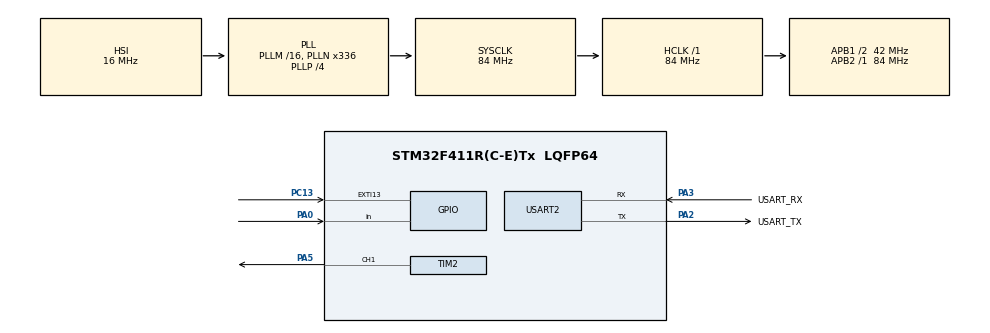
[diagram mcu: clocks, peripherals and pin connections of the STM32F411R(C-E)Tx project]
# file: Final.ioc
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Mcu.Family=STM32F4
Mcu.Name=STM32F411R(C-E)Tx
Mcu.Package=LQFP64
NVIC.PriorityGroup=NVIC_PRIORITYGROUP_0
NVIC.TIM2_IRQn=true\:0\:0\:false\:false\:true\:true\:true\:true
NVIC.TIM3_IRQn=true\:0\:0\:false\:false\:true\:true\:true\:true
PA0-WKUP.Signal=GPIO_Input
PA13.GPIO_Label=TMS
PA13.Mode=Serial_Wire
PA13.Signal=SYS_JTMS-SWDIO
PA14.GPIO_Label=TCK
PA14.Mode=Serial_Wire
PA14.Signal=SYS_JTCK-SWCLK
PA2.GPIO_Label=USART_TX
PA2.Mode=Asynchronous
PA2.Signal=USART2_TX
PA3.GPIO_Label=USART_RX
PA3.Mode=Asynchronous
PA3.Signal=USART2_RX
PA5.Signal=S_TIM2_CH1_ETR
PB3.GPIO_Label=SWO
PB3.Signal=SYS_JTDO-SWO
PC13-ANTI_TAMP.GPIO_PuPd=GPIO_PULLUP
PC13-ANTI_TAMP.Signal=GPXTI13
PC14-OSC32_IN.Mode=LSE-External-Oscillator
PC14-OSC32_IN.Signal=RCC_OSC32_IN
PC15-OSC32_OUT.Mode=LSE-External-Oscillator
PC15-OSC32_OUT.Signal=RCC_OSC32_OUT
PH0\ -\ OSC_IN.Mode=HSE-External-Clock-Source
PH0\ -\ OSC_IN.Signal=RCC_OSC_IN
PH1\ -\ OSC_OUT.Mode=HSE-External-Clock-Source
PH1\ -\ OSC_OUT.Signal=RCC_OSC_OUT
ProjectManager.HeapSize=0x200
ProjectManager.StackSize=0x400
ProjectManager.TargetToolchain=STM32CubeIDE
RCC.48MHZClocksFreq_Value=84000000
RCC.AHBFreq_Value=84000000
RCC.APB1CLKDivider=RCC_HCLK_DIV2
RCC.APB1Freq_Value=42000000
RCC.APB1TimFreq_Value=84000000
RCC.APB2Freq_Value=84000000
RCC.APB2TimFreq_Value=84000000
RCC.CortexFreq_Value=84000000
RCC.FLatency-AdvancedSettings=FLASH_LATENCY_2
RCC.HCLKFreq_Value=84000000
RCC.HSE_VALUE=8000000
RCC.HSI_VALUE=16000000
RCC.PLLN=336
RCC.PLLP=RCC_PLLP_DIV4
RCC.SYSCLKFreq_VALUE=84000000
RCC.SYSCLKSource=RCC_SYSCLKSOURCE_PLLCLK
RCC.VCOOutputFreq_Value=336000000
SH.S_TIM2_CH1_ETR.0=TIM2_CH1,PWM Generation1 CH1
TIM2.Channel-PWM\ Generation1\ CH1=TIM_CHANNEL_1
TIM2.Period=999
TIM2.Prescaler=83
TIM3.Period=999
TIM3.Prescaler=83
USART2.VirtualMode=VM_ASYNC
VP_TIM2_VS_ClockSourceINT.Mode=Internal
VP_TIM3_VS_ClockSourceINT.Mode=Internal
board=NUCLEO-F411RE

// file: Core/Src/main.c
/* =========================
 * main.c  (CubeMX + thin glue)
 * ========================= */

/* USER CODE BEGIN Header */
/**
  ******************************************************************************
  * @file           : main.c
  * @brief          : Basic final assignment – PI + plant + PWM + UART + modes
  *
  * - TIM3 @ 1 kHz interrupt runs: app_tick_1khz()
  * - TIM2 CH1 outputs PWM duty (0..1)
  * - UART2 CLI: help, status, mode idle|mod|cfg, kp x, ki x, ref x
  * - PC13 button cycles modes (unless locked in CONFIG)
  ******************************************************************************
  */
/* USER CODE END Header */

#include "main.h"

/* USER CODE BEGIN Includes */
#include <string.h>
#include <stdint.h>
#include "app.h"
/* USER CODE END Includes */

TIM_HandleTypeDef htim2;
TIM_HandleTypeDef htim3;
UART_HandleTypeDef huart2;

/* USER CODE BEGIN PV */
static volatile uint8_t g_btn_event = 0;

/* UART line buffer */
static char     g_line[96];
static uint32_t g_line_len = 0;
/* USER CODE END PV */

void SystemClock_Config(void);
static void MX_GPIO_Init(void);
static void MX_USART2_UART_Init(void);
static void MX_TIM2_Init(void);
static void MX_TIM3_Init(void);

/* USER CODE BEGIN PFP */
static void uart_putc(uint8_t c);
static void uart_print(const char *s);
static void uart_println(const char *s);
/* USER CODE END PFP */

/* USER CODE BEGIN 0 */

static void uart_putc(uint8_t c)
{
  HAL_UART_Transmit(&huart2, &c, 1, 100);
}

static void uart_print(const char *s)
{
  HAL_UART_Transmit(&huart2, (uint8_t*)s, (uint16_t)strlen(s), 200);
}

static void uart_println(const char *s)
{
  uart_print(s);
  uart_print("\r\n");
}

/* PC13 EXTI callback -> set flag */
void HAL_GPIO_EXTI_Callback(uint16_t GPIO_Pin)
{
  if (GPIO_Pin == GPIO_PIN_13) g_btn_event = 1;
}

/* TIM3 ISR: call app tick */
void HAL_TIM_PeriodElapsedCallback(TIM_HandleTypeDef *htim)
{
  if (htim->Instance != TIM3) return;
  app_tick_1khz();
}

/* USER CODE END 0 */

int main(void)
{
  HAL_Init();
  SystemClock_Config();

  MX_GPIO_Init();
  MX_USART2_UART_Init();
  MX_TIM2_Init();
  MX_TIM3_Init();

  /* USER CODE BEGIN 2 */
  app_init();

  HAL_TIM_PWM_Start(&htim2, TIM_CHANNEL_1);
  HAL_TIM_Base_Start_IT(&htim3);

  uart_println("");
  uart_println("BASIC start: PI + Plant + PWM + UART");
  uart_println("Commands: help, status, mode idle|mod|cfg, kp x, ki x, ref x");
  uart_println("Boot");
  /* USER CODE END 2 */

  while (1)
  {
    /* UART RX polling: CR ends a line, LF ignored */
    uint8_t ch;
    if (HAL_UART_Receive(&huart2, &ch, 1, 0) == HAL_OK)
    {
#if UART_ECHO
      uart_putc(ch);
#endif
      if (ch == '\n') {
        /* ignore */
      }
      else if (ch == '\r')
      {
        uart_print("\r\n");
        g_line[g_line_len] = '\0';
        app_cli_process_line(g_line);
        g_line_len = 0;
      }
      else if (g_line_len < sizeof(g_line) - 1)
      {
        g_line[g_line_len++] = (char)ch;
      }
    }

    /* Button: forward event to app */
    if (g_btn_event)
    {
      g_btn_event = 0;
      app_button_event();
    }
  }
}

/* ===================== CubeMX generated init functions below ===================== */

void SystemClock_Config(void)
{
  RCC_OscInitTypeDef RCC_OscInitStruct = {0};
  RCC_ClkInitTypeDef RCC_ClkInitStruct = {0};

  __HAL_RCC_PWR_CLK_ENABLE();
  __HAL_PWR_VOLTAGESCALING_CONFIG(PWR_REGULATOR_VOLTAGE_SCALE1);

  RCC_OscInitStruct.OscillatorType = RCC_OSCILLATORTYPE_HSI;
  RCC_OscInitStruct.HSIState = RCC_HSI_ON;
  RCC_OscInitStruct.HSICalibrationValue = RCC_HSICALIBRATION_DEFAULT;
  RCC_OscInitStruct.PLL.PLLState = RCC_PLL_ON;
  RCC_OscInitStruct.PLL.PLLSource = RCC_PLLSOURCE_HSI;
  RCC_OscInitStruct.PLL.PLLM = 16;
  RCC_OscInitStruct.PLL.PLLN = 336;
  RCC_OscInitStruct.PLL.PLLP = RCC_PLLP_DIV4;
  RCC_OscInitStruct.PLL.PLLQ = 4;
  if (HAL_RCC_OscConfig(&RCC_OscInitStruct) != HAL_OK) { Error_Handler(); }

  RCC_ClkInitStruct.ClockType = RCC_CLOCKTYPE_HCLK|RCC_CLOCKTYPE_SYSCLK
                              |RCC_CLOCKTYPE_PCLK1|RCC_CLOCKTYPE_PCLK2;
  RCC_ClkInitStruct.SYSCLKSource = RCC_SYSCLKSOURCE_PLLCLK;
  RCC_ClkInitStruct.AHBCLKDivider = RCC_SYSCLK_DIV1;
  RCC_ClkInitStruct.APB1CLKDivider = RCC_HCLK_DIV2;
  RCC_ClkInitStruct.APB2CLKDivider = RCC_HCLK_DIV1;

  if (HAL_RCC_ClockConfig(&RCC_ClkInitStruct, FLASH_LATENCY_2) != HAL_OK) { Error_Handler(); }
}

static void MX_TIM2_Init(void)
{
  TIM_ClockConfigTypeDef sClockSourceConfig = {0};
  TIM_MasterConfigTypeDef sMasterConfig = {0};
  TIM_OC_InitTypeDef sConfigOC = {0};

  htim2.Instance = TIM2;
  htim2.Init.Prescaler = 83;
  htim2.Init.CounterMode = TIM_COUNTERMODE_UP;
  htim2.Init.Period = 999;
  htim2.Init.ClockDivision = TIM_CLOCKDIVISION_DIV1;
  htim2.Init.AutoReloadPreload = TIM_AUTORELOAD_PRELOAD_DISABLE;
  if (HAL_TIM_Base_Init(&htim2) != HAL_OK) { Error_Handler(); }

  sClockSourceConfig.ClockSource = TIM_CLOCKSOURCE_INTERNAL;
  if (HAL_TIM_ConfigClockSource(&htim2, &sClockSourceConfig) != HAL_OK) { Error_Handler(); }

  if (HAL_TIM_PWM_Init(&htim2) != HAL_OK) { Error_Handler(); }

  sMasterConfig.MasterOutputTrigger = TIM_TRGO_RESET;
  sMasterConfig.MasterSlaveMode = TIM_MASTERSLAVEMODE_DISABLE;
  if (HAL_TIMEx_MasterConfigSynchronization(&htim2, &sMasterConfig) != HAL_OK) { Error_Handler(); }

  sConfigOC.OCMode = TIM_OCMODE_PWM1;
  sConfigOC.Pulse = 0;
  sConfigOC.OCPolarity = TIM_OCPOLARITY_HIGH;
  sConfigOC.OCFastMode = TIM_OCFAST_DISABLE;
  if (HAL_TIM_PWM_ConfigChannel(&htim2, &sConfigOC, TIM_CHANNEL_1) != HAL_OK) { Error_Handler(); }

  HAL_TIM_MspPostInit(&htim2);
}

static void MX_TIM3_Init(void)
{
  TIM_ClockConfigTypeDef sClockSourceConfig = {0};
  TIM_MasterConfigTypeDef sMasterConfig = {0};

  htim3.Instance = TIM3;
  htim3.Init.Prescaler = 83;
  htim3.Init.CounterMode = TIM_COUNTERMODE_UP;
  htim3.Init.Period = 999;
  htim3.Init.ClockDivision = TIM_CLOCKDIVISION_DIV1;
  htim3.Init.AutoReloadPreload = TIM_AUTORELOAD_PRELOAD_DISABLE;
  if (HAL_TIM_Base_Init(&htim3) != HAL_OK) { Error_Handler(); }

  sClockSourceConfig.ClockSource = TIM_CLOCKSOURCE_INTERNAL;
  if (HAL_TIM_ConfigClockSource(&htim3, &sClockSourceConfig) != HAL_OK) { Error_Handler(); }

  sMasterConfig.MasterOutputTrigger = TIM_TRGO_RESET;
  sMasterConfig.MasterSlaveMode = TIM_MASTERSLAVEMODE_DISABLE;
  if (HAL_TIMEx_MasterConfigSynchronization(&htim3, &sMasterConfig) != HAL_OK) { Error_Handler(); }
}

static void MX_USART2_UART_Init(void)
{
  huart2.Instance = USART2;
  huart2.Init.BaudRate = 115200;
  huart2.Init.WordLength = UART_WORDLENGTH_8B;
  huart2.Init.StopBits = UART_STOPBITS_1;
  huart2.Init.Parity = UART_PARITY_NONE;
  huart2.Init.Mode = UART_MODE_TX_RX;
  huart2.Init.HwFlowCtl = UART_HWCONTROL_NONE;
  huart2.Init.OverSampling = UART_OVERSAMPLING_16;
  if (HAL_UART_Init(&huart2) != HAL_OK) { Error_Handler(); }
}

static void MX_GPIO_Init(void)
{
  GPIO_InitTypeDef GPIO_InitStruct = {0};

  __HAL_RCC_GPIOC_CLK_ENABLE();
  __HAL_RCC_GPIOH_CLK_ENABLE();
  __HAL_RCC_GPIOA_CLK_ENABLE();
  __HAL_RCC_GPIOB_CLK_ENABLE();

  /* PC13 user button EXTI (falling) */
  GPIO_InitStruct.Pin = GPIO_PIN_13;
  GPIO_InitStruct.Mode = GPIO_MODE_IT_FALLING;
  GPIO_InitStruct.Pull = GPIO_PULLUP;
  HAL_GPIO_Init(GPIOC, &GPIO_InitStruct);

  HAL_NVIC_SetPriority(EXTI15_10_IRQn, 2, 0);
  HAL_NVIC_EnableIRQ(EXTI15_10_IRQn);
}

void Error_Handler(void)
{
  __disable_irq();
  while (1) { }
}
